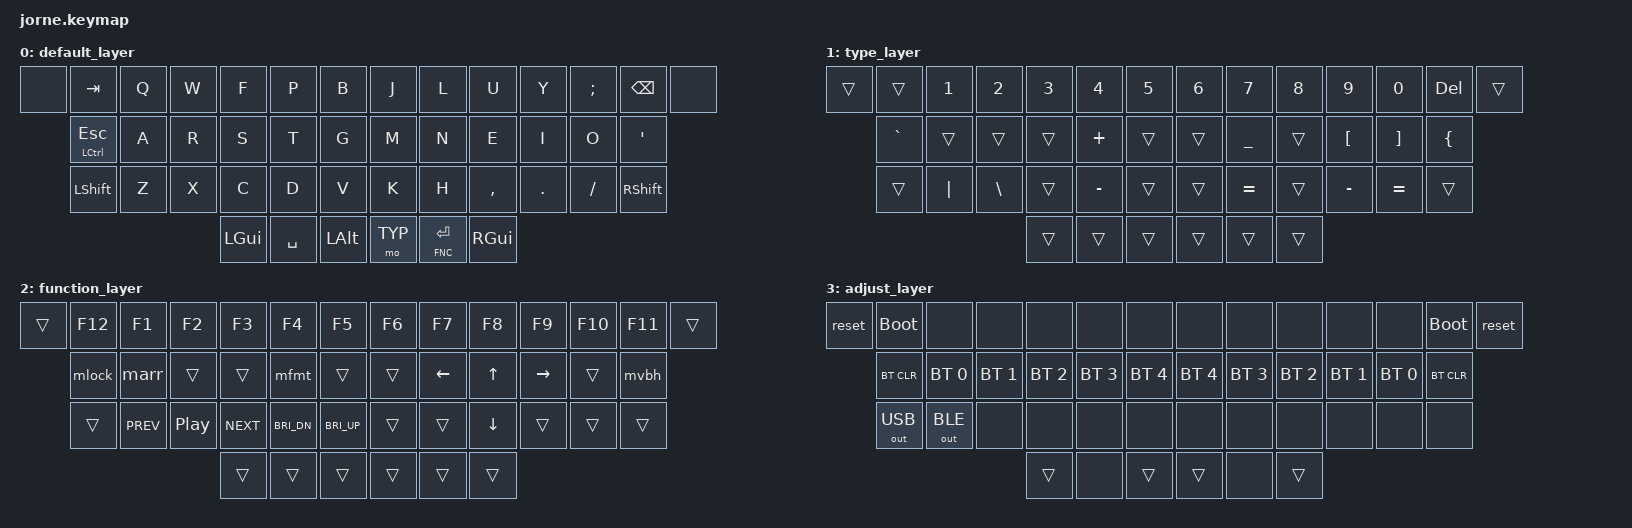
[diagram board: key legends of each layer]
/*
 * Copyright (c) 2020 The ZMK Contributors
 *
 * SPDX-License-Identifier: MIT
 */

#include <behaviors.dtsi>
#include <dt-bindings/zmk/keys.h>
#include <dt-bindings/zmk/bt.h>
#include <dt-bindings/zmk/outputs.h>

#define DEF 0
#define TYP 1
#define FNC 2
#define ADJ 3

#define BRID C_BRI_DN
#define BRIU C_BRI_UP

/ {
        macros {
            ZMK_MACRO(mlock,
                wait-ms = <10>;
                tap-ms = <10>;
                bindings = 
                    <&macro_press &kp LGUI &kp LCTRL>,
                    <&macro_tap &kp Q>,
                    <&macro_release &kp LGUI &kp LCTRL>;
            )
            ZMK_MACRO(marr, // Arrow function
                wait-ms = <10>;
                tap-ms = <10>;
                bindings = <&kp SPACE &kp EQUAL &kp GT &kp SPACE>;
            )
            ZMK_MACRO(mvbh, // Vim blackhole register
                wait-ms = <10>;
                tap-ms = <10>;
                bindings = <&kp SQT &kp UNDER>;
            )
            ZMK_MACRO(mfmt, // Format with Shift + Alt + F
                wait-ms = <10>;
                tap-ms = <10>;
                bindings = <&kp LS(LA(F))>;
            )
            ZMK_MACRO(mbkt,
                wait-ms = <10>;
                tap-ms = <10>;
                bindings = <&kp LBKT &kp RBKT>;
            )
            ZMK_MACRO(mbrc,
                wait-ms = <10>;
                tap-ms = <10>;
                bindings = <&kp LBRC &kp RBRC>;
            )
            ZMK_MACRO(mprn,
                wait-ms = <10>;
                tap-ms = <10>;
                bindings = <&kp LPRN &kp RPRN>;
            )
        };

        combos {
            compatible = "zmk,combos";
            combo_lang { // Trigger LALT+SPACE on SPACE+LALT 
                timeout-ms = <150>;
                key-positions = <39 40>;
                bindings = <&kp LA(SPACE)>;
            };
            combo_term { // SPACE+ESC to trigger terminal (LCTRL+GRAVE)
                timeout-ms = <200>;
                key-positions = <14 39>;
                bindings = <&kp LC(GRAVE)>;
            };
            combo_swap { // LGUI+ESC to trigger macOS group swapping (LGUI+GRAVE)
                timeout-ms = <200>;
                key-positions = <14 38>;
                bindings = <&kp LG(GRAVE)>;
            };
            combo_adj {
                timeout-ms = <50>;
                key-positions = <6 40>;
                bindings = <&sl ADJ>;
            };

            combo_lprn {
                timeout-ms = <50>;
                key-positions = <9 10>;
                bindings = <&kp LPRN>;
            };
            combo_rprn {
                timeout-ms = <50>;
                key-positions = <10 11>;
                bindings = <&kp RPRN>;
            };
            combo_prn {
                timeout-ms = <50>;
                key-positions = <9 11>;
                bindings = <&mprn>;
            };

            combo_lbrc {
                timeout-ms = <50>;
                key-positions = <22 23>;
                bindings = <&kp LBRC>;
            };
            combo_rbrc {
                timeout-ms = <50>;
                key-positions = <23 24>;
                bindings = <&kp RBRC>;
            };
            combo_brc {
                timeout-ms = <50>;
                key-positions = <22 24>;
                bindings = <&mbrc>;
            };

            combo_lbkt {
                timeout-ms = <50>;
                key-positions = <34 35>;
                bindings = <&kp LBKT>;
            };
            combo_rbkt {
                timeout-ms = <50>;
                key-positions = <35 36>;
                bindings = <&kp RBKT>;
            };
            combo_bkt {
                timeout-ms = <50>;
                key-positions = <34 36>;
                bindings = <&mbkt>;
            };
        };

        keymap {
                compatible = "zmk,keymap";

                default_layer {
                        bindings = <
    &none       &kp TAB     &kp Q       &kp W       &kp F       &kp P       &kp B               &kp J       &kp L       &kp U       &kp Y       &kp SEMI    &kp BSPC    &none
            &mt LCTRL ESC   &kp A       &kp R       &kp S       &kp T       &kp G               &kp M       &kp N       &kp E       &kp I       &kp O       &kp SQT
                &kp LSHFT   &kp Z       &kp X       &kp C       &kp D       &kp V               &kp K       &kp H       &kp COMMA   &kp DOT     &kp FSLH    &kp RSHFT
                                                    &kp LGUI    &kp SPACE   &kp LALT            &mo TYP     &lt FNC RET &kp RGUI
                        >;
                };

                type_layer {
                        bindings = <
    &trans      &trans      &kp N1      &kp N2      &kp N3      &kp N4      &kp N5              &kp N6      &kp N7      &kp N8      &kp N9      &kp N0      &kp DEL     &trans 
                &kp GRAVE   &trans      &trans      &trans      &kp PLUS    &trans              &trans      &kp UNDER   &trans      &kp LBKT    &kp RBKT    &kp LBRC
                &trans      &kp PIPE    &kp BSLH    &trans      &kp MINUS   &trans              &trans      &kp EQUAL   &trans      &kp MINUS   &kp EQUAL   &trans
                                                    &trans      &trans      &trans              &trans      &trans      &trans
                        >;
                };

                function_layer {
                        bindings = <
    &trans      &kp F12     &kp F1      &kp F2      &kp F3      &kp F4      &kp F5              &kp F6      &kp F7      &kp F8      &kp F9      &kp F10     &kp F11     &trans
                &mlock      &marr       &trans      &trans      &mfmt       &trans              &trans      &kp LEFT    &kp UP      &kp RIGHT   &trans      &mvbh
                &trans      &kp C_PREV  &kp C_PP    &kp C_NEXT  &kp BRID    &kp BRIU            &trans      &trans      &kp DOWN    &trans      &trans      &trans
                                                    &trans      &trans      &trans              &trans      &trans      &trans
                        >;
                };

                adjust_layer {
                        bindings = <
   &reset &bootloader  &none        &none        &none        &none        &none              &none        &none        &none        &none        &none         &bootloader &reset
          &bt BT_CLR   &bt BT_SEL 0 &bt BT_SEL 1 &bt BT_SEL 2 &bt BT_SEL 3 &bt BT_SEL 4       &bt BT_SEL 4 &bt BT_SEL 3 &bt BT_SEL 2 &bt BT_SEL 1 &bt BT_SEL 0  &bt BT_CLR
        &out OUT_USB   &out OUT_BLE &none        &none        &none        &none              &none        &none        &none        &none        &none         &none
                                                 &trans       &none        &trans             &trans       &none        &trans
                        >;
                };
        };
};
